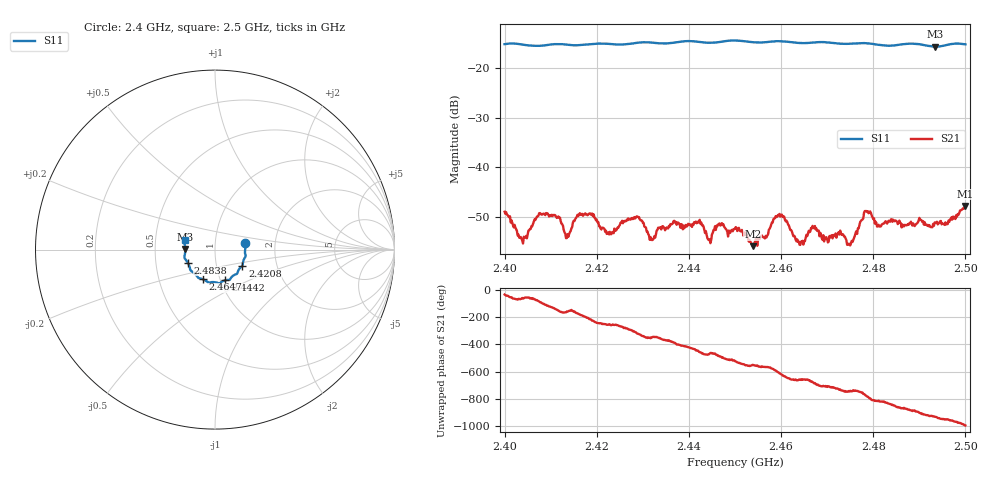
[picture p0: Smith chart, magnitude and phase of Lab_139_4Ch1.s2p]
# Hz S RI R 50
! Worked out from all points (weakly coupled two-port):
!   601 points, 2.4 GHz to 2.5 GHz, reference 50 ohm
!   highest |S21| = -47.81 dB at 2.5 GHz (marker M1); lowest = -55.9 dB at 2.4538 GHz (marker M2)
!   lowest |S11| = -15.7 dB at 2.4935 GHz (marker M3), VSWR 1.39, Z = 35.9 + j0.123 ohm
!   |S11| at or under -10 dB: start of sweep to end of sweep
!   S12 and S22 are empty: the file has one direction only
!   S11 on the Smith chart (normalised r, x): 2.4 GHz: 1.40, +0.11; 2.4208 GHz: 1.33, -0.25; 2.4442 GHz: 1.06, -0.37; 2.4647 GHz: 0.83, -0.28; 2.4838 GHz: 0.73, -0.11; 2.5 GHz: 0.71, +0.08
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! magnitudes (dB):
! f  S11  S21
! 2.4 GHz  -15.2  -49.0
! 2.4037 GHz  -15.2  -54.4
! 2.4077 GHz  -15.5  -49.2
! 2.4135 GHz  -15.3  -54.3
! 2.4167 GHz  -15.3  -49.4
! 2.4208 GHz  -15.1  -52.4
! 2.4287 GHz  -14.9  -49.9
! 2.4318 GHz  -14.8  -54.6
! 2.4333 GHz  -15.0  -52.2
! 2.4418 GHz  -14.7  -51.0
! 2.4442 GHz  -14.9  -54.6
! 2.45 GHz  -14.4  -52.4
! 2.4538 GHz  -14.8  -55.9
! 2.4597 GHz  -14.6  -49.4
! 2.4647 GHz  -15.0  -54.8
! 2.4667 GHz  -14.9  -52.3
! 2.4748 GHz  -15.1  -55.4
! 2.4785 GHz  -15.0  -48.8
! 2.4833 GHz  -15.5  -50.8
! 2.4838 GHz  -15.5  -50.5
! 2.4935 GHz  -15.7  -51.2
! 2.5 GHz  -15.2  -47.8
